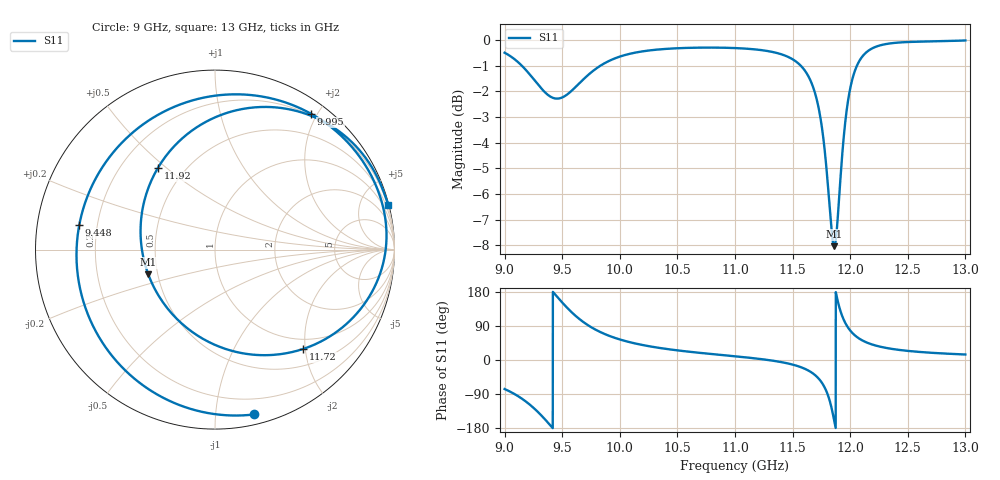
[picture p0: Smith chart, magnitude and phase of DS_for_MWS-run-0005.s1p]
! TOUCHSTONE file generated by CST DESIGN STUDIO
! Date and time: Tue Feb  4 13:53:36 2025
! Project name: C:\Work\MatlabApps\UnitCellOptimizationMatlab\CST\unitcell.cst
! Tree item: Tasks\Sweep1\SPara1\S-Parameters
! Header version: 2024
! Port assignment regex: !\s*Touchstone port\s*([0-9]+)\s*=\s*(CST MWS port|CST DES external port|CST DES block port)\s*(.+)\s* \(\"(.*)\"\)(\s*mode\s*([0-9]+))?.*
! Touchstone port assignment:
! Touchstone port 1 = CST DES external port 1 ("")
# GHz S MA R 50
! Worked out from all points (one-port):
!   4001 points, 9 GHz to 13 GHz, reference 50 ohm
!   lowest |S11| = -8.0 dB at 11.86 GHz (marker M1), VSWR 2.31, Z = 22.2 - j7.3 ohm
!   |S11| at or under -10 dB: nowhere
!   S11 on the Smith chart (normalised r, x): 9 GHz: 0.07, -1.26; 9.448 GHz: 0.13, +0.09; 9.995 GHz: 0.18, +1.92; 11.72 GHz: 0.80, -1.96; 11.92 GHz: 0.36, +0.47; 13 GHz: 0.08, +7.86
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9  0.944 -76.6
9.125  0.9016 -97.0
9.227  0.8519 -119.9
9.349  0.7911 -156.1
9.448  0.7685 169.6
9.5  0.7724 151.7
9.597  0.8019 121.7
9.698  0.8437 97.1
9.843  0.894 72.0
9.995  0.927 54.7
10  0.9278 54.2
10.214  0.9511 38.6
10.5  0.9632 25.4
11  0.964 9.8
11.5  0.9168 -12.1
11.633  0.8527 -27.2
11.724  0.7406 -48.3
11.8  0.5422 -87.3
11.83  0.4465 -116.4
11.861  0.3964 -159.5
11.89  0.4442 158.0
11.92  0.5552 125.0
11.958  0.6947 97.5
12  0.8042 77.9
12.076  0.9071 57.0
12.171  0.9571 42.9
12.5  0.9905 24.0
13  0.9975 14.5
